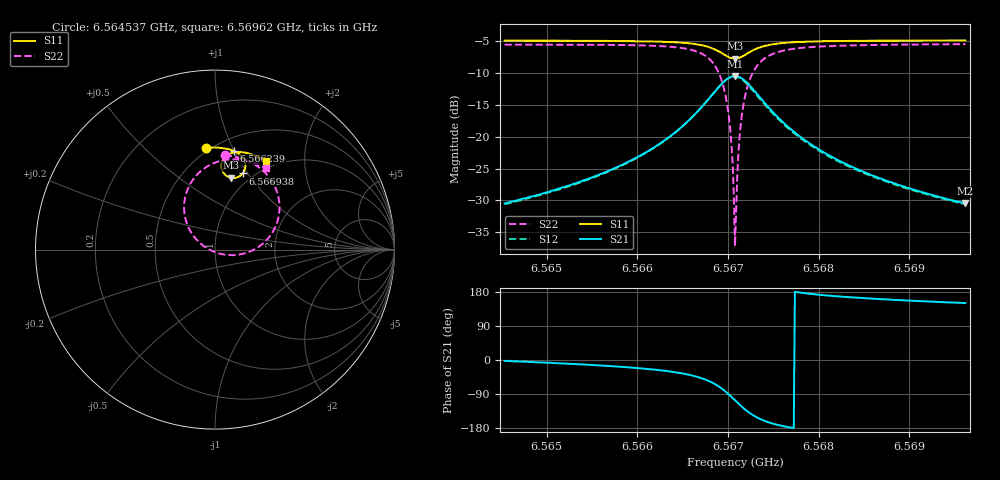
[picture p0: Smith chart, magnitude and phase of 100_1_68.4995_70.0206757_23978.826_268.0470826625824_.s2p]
#  HZ  S  RI  R  50.00
! Rohde & Schwarz Vector Network Analyzer
! Rohde-Schwarz,ZNB20-2Port,1311601062101988,3.16
! Created: UTC 3/20/2024, 4:53:01 PM
! freq[Hz]  re:S11  im:S11  re:S21  im:S21  re:S12  im:S12  re:S22  im:S22
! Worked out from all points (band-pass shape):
!   401 points, 6.564537 GHz to 6.56962 GHz, reference 50 ohm
!   highest |S21| = -10.46 dB at 6.567078 GHz (marker M1); lowest = -30.5 dB at 6.56962 GHz (marker M2)
!   |S21| within 3 dB of the highest: 6.566823 GHz to 6.567332 GHz (508.7 kHz wide, 0.00775 % of centre)
!   lowest |S11| = -7.7 dB at 6.567078 GHz (marker M3), VSWR 2.39, Z = 41.9 + j40.3 ohm
!   |S11| at or under -10 dB: nowhere
!   |S22| runs from -37.2 to -5.4 dB; largest |S21 - S12| = 0.015
!   S11 on the Smith chart (normalised r, x): 6.564537 GHz: 0.48, +0.80; 6.566239 GHz: 0.62, +1.00; 6.566938 GHz: 0.89, +0.95; 6.56962 GHz: 0.89, +1.31
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6.5645365e9  -0.0482 0.5673  0.03 -0.00124  0.0295 -0.0017  0.0544 0.5261
6.5653879e9  0.0226 0.5677  0.0441 -0.00919  0.0432 -0.00962  0.1383 0.5102
6.5662393e9  0.1052 0.5496  0.0781 -0.0393  0.0771 -0.0401  0.2593 0.447
6.5665316e9  0.1404 0.5276  0.1016 -0.0766  0.0999 -0.078  0.3219 0.3731
6.5667349e9  0.1646 0.4926  0.1147 -0.1378  0.112 -0.1407  0.3589 0.2548
6.5668493e9  0.1685 0.4581  0.1028 -0.1985  0.0976 -0.2027  0.3413 0.1387
6.5669383e9  0.1547 0.4245  0.0616 -0.2561  0.0523 -0.2594  0.2647 0.0316
6.5669764e9  0.1413 0.4114  0.0302 -0.2772  0.019 -0.279  0.2062 -0.00576
6.5670145e9  0.1232 0.4023  -0.00922 -0.291  -0.0222 -0.2903  0.1334 -0.028
6.5670399e9  0.1094 0.3991  -0.0387 -0.2941  -0.0523 -0.2913  0.0797 -0.0305
6.5670653e9  0.0947 0.3992  -0.069 -0.2917  -0.0825 -0.2861  0.0257 -0.0223
6.567078e9  0.0875 0.4005  -0.0841 -0.288  -0.0972 -0.2813  -0.000663 -0.0138
6.5670908e9  0.0804 0.4026  -0.0987 -0.2829  -0.1113 -0.275  -0.0258 -0.00284
6.5671035e9  0.0736 0.4053  -0.1125 -0.2763  -0.1245 -0.2674  -0.0494 0.0106
6.5671289e9  0.0614 0.4131  -0.1376 -0.2597  -0.148 -0.2491  -0.0911 0.0435
6.567167e9  0.0474 0.4283  -0.1669 -0.2285  -0.1741 -0.2161  -0.1373 0.1027
6.5672178e9  0.0376 0.4515  -0.1891 -0.1824  -0.1923 -0.1699  -0.1679 0.1865
6.5672814e9  0.0373 0.4785  -0.1949 -0.1299  -0.1944 -0.119  -0.1687 0.2787
6.5675101e9  0.075 0.5299  -0.1495 -0.0293  -0.146 -0.0246  -0.0662 0.4476
6.5679295e9  0.1379 0.5435  -0.0856 0.00899  -0.0834 0.0103  0.0755 0.5019
6.5687809e9  0.2202 0.5251  -0.0415 0.0154  -0.0406 0.016  0.2072 0.4862
6.5696196e9  0.2835 0.4958  -0.026 0.0149  -0.0254 0.0149  0.2845 0.4523
